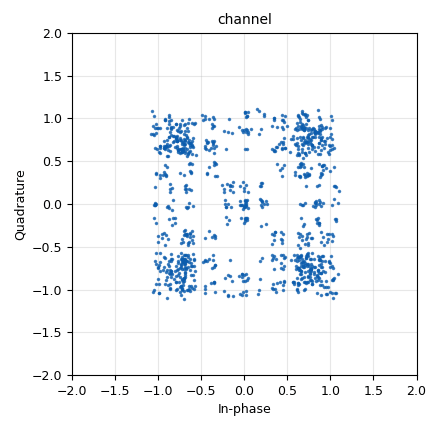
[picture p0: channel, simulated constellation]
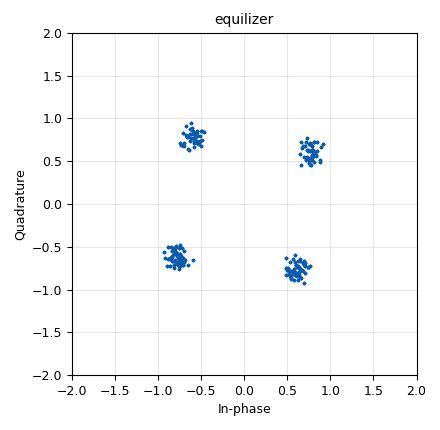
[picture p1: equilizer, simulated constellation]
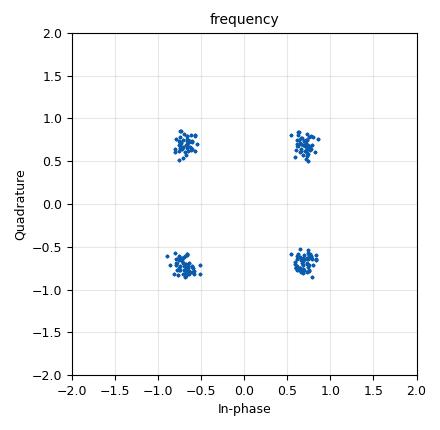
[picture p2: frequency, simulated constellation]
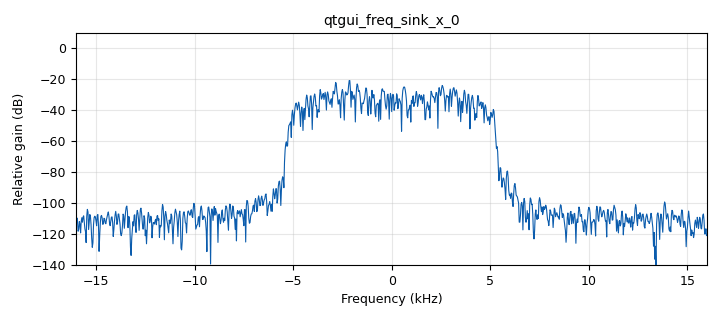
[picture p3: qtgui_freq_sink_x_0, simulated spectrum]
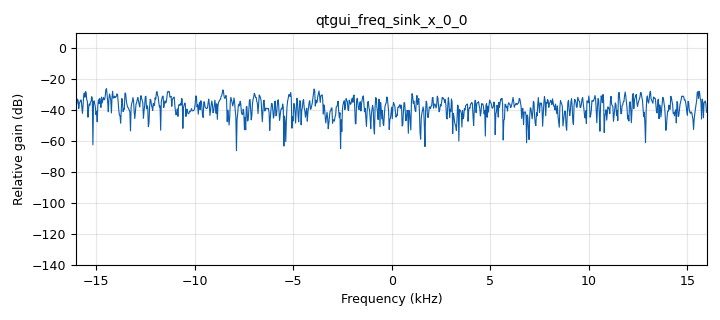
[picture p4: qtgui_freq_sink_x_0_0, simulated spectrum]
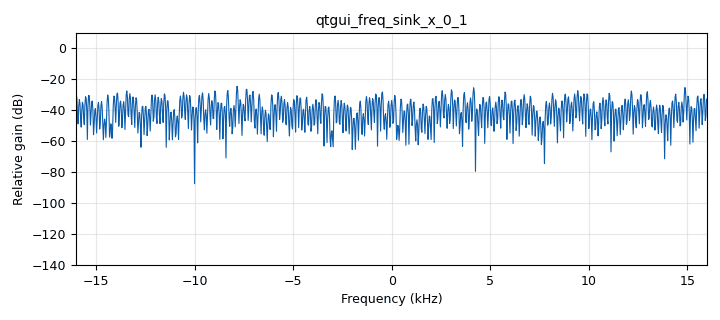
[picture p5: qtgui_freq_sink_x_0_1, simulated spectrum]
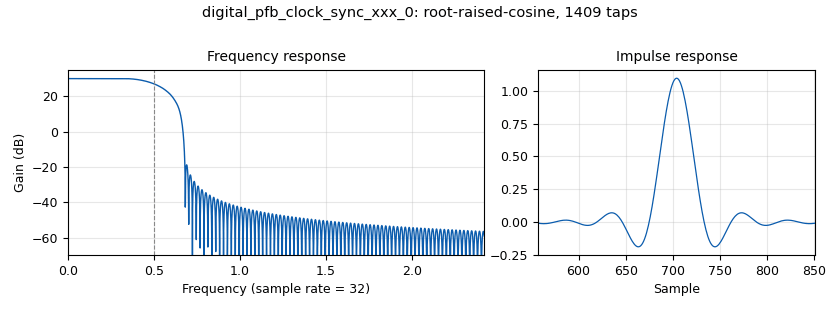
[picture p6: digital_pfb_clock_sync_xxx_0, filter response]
<?xml version='1.0' encoding='utf-8'?>
<?grc format='1' created='3.7.9'?>
<flow_graph>
<block>
<key>options</key>
<param><key>id</key><value>top_block</value></param>
<param><key>category</key><value>Custom</value></param>
<param><key>generate_options</key><value>qt_gui</value></param>
</block>
<block>
<key>variable_qtgui_range</key>
<param><key>id</key><value>BW</value></param>
<param><key>value</key><value>62.8e-3</value></param>
<param><key>gui_hint</key><value>0,3</value></param>
<param><key>orient</key><value>Qt.Horizontal</value></param>
<param><key>start</key><value>-0</value></param>
<param><key>step</key><value>10e-3</value></param>
<param><key>stop</key><value>200e-3</value></param>
</block>
<block>
<key>variable_qtgui_range</key>
<param><key>id</key><value>cma_gain</value></param>
<param><key>value</key><value>10e-3</value></param>
<param><key>gui_hint</key><value>2,1</value></param>
<param><key>orient</key><value>Qt.Horizontal</value></param>
<param><key>start</key><value>0</value></param>
<param><key>step</key><value>1e-3</value></param>
<param><key>stop</key><value>100e-3</value></param>
</block>
<block>
<key>variable</key>
<param><key>id</key><value>const_points</value></param>
<param><key>_enabled</key><value>0</value></param>
<param><key>value</key><value>4</value></param>
</block>
<block>
<key>variable_qtgui_range</key>
<param><key>id</key><value>delay</value></param>
<param><key>value</key><value>58</value></param>
<param><key>gui_hint</key><value>qtgui_tab_widget_0@4</value></param>
<param><key>orient</key><value>Qt.Horizontal</value></param>
<param><key>start</key><value>0</value></param>
<param><key>step</key><value>1</value></param>
<param><key>stop</key><value>100</value></param>
<param><key>rangeType</key><value>int</value></param>
</block>
<block>
<key>variable</key>
<param><key>id</key><value>excess_bw</value></param>
<param><key>value</key><value>0.35</value></param>
</block>
<block>
<key>variable_qtgui_range</key>
<param><key>id</key><value>freq_off</value></param>
<param><key>value</key><value>0</value></param>
<param><key>gui_hint</key><value>0,2</value></param>
<param><key>orient</key><value>Qt.Horizontal</value></param>
<param><key>start</key><value>-0.1</value></param>
<param><key>step</key><value>0.001</value></param>
<param><key>stop</key><value>0.1</value></param>
</block>
<block>
<key>variable</key>
<param><key>id</key><value>nfilts</value></param>
<param><key>value</key><value>32</value></param>
</block>
<block>
<key>variable_qtgui_range</key>
<param><key>id</key><value>noise_volt</value></param>
<param><key>value</key><value>100e-6</value></param>
<param><key>gui_hint</key><value>0,0</value></param>
<param><key>orient</key><value>Qt.Horizontal</value></param>
<param><key>start</key><value>0</value></param>
<param><key>step</key><value>0.01</value></param>
<param><key>stop</key><value>1</value></param>
</block>
<block>
<key>variable</key>
<param><key>id</key><value>ntaps</value></param>
<param><key>value</key><value>11*nfilts*sps</value></param>
</block>
<block>
<key>variable_constellation_rect</key>
<param><key>id</key><value>qpsk</value></param>
<param><key>const_points</key><value>[-0.707-0.707j, -0.707+0.707j, 0.707+0.707j, 0.707-0.707j]</value></param>
<param><key>imag_sect</key><value>2</value></param>
<param><key>real_sect</key><value>2</value></param>
<param><key>rot_sym</key><value>4</value></param>
<param><key>sym_map</key><value>[0, 1, 2, 3]</value></param>
<param><key>w_imag_sect</key><value>1</value></param>
<param><key>w_real_sect</key><value>1</value></param>
</block>
<block>
<key>variable</key>
<param><key>id</key><value>rrc_taps</value></param>
<param><key>value</key><value>firdes.root_raised_cosine(nfilts,nfilts,1.0,excess_bw,ntaps)</value></param>
</block>
<block>
<key>variable</key>
<param><key>id</key><value>samp_rate</value></param>
<param><key>value</key><value>32e3</value></param>
</block>
<block>
<key>variable</key>
<param><key>id</key><value>sps</value></param>
<param><key>value</key><value>4</value></param>
</block>
<block>
<key>variable</key>
<param><key>id</key><value>taps</value></param>
<param><key>value</key><value>1</value></param>
</block>
<block>
<key>variable_qtgui_range</key>
<param><key>id</key><value>time_off</value></param>
<param><key>value</key><value>1</value></param>
<param><key>gui_hint</key><value>0,1</value></param>
<param><key>orient</key><value>Qt.Horizontal</value></param>
<param><key>start</key><value>0.999</value></param>
<param><key>step</key><value>100e-6</value></param>
<param><key>stop</key><value>1.001</value></param>
</block>
<block>
<key>analog_random_source_x</key>
<param><key>id</key><value>analog_random_source_x_0</value></param>
<param><key>max</key><value>256</value></param>
<param><key>min</key><value>0</value></param>
<param><key>num_samps</key><value>100</value></param>
<param><key>type</key><value>byte</value></param>
<param><key>repeat</key><value>True</value></param>
</block>
<block>
<key>blocks_char_to_float</key>
<param><key>id</key><value>blocks_char_to_float_0</value></param>
<param><key>scale</key><value>1</value></param>
</block>
<block>
<key>blocks_char_to_float</key>
<param><key>id</key><value>blocks_char_to_float_0_0</value></param>
<param><key>scale</key><value>1</value></param>
</block>
<block>
<key>blocks_delay</key>
<param><key>id</key><value>blocks_delay_0</value></param>
<param><key>delay</key><value>delay</value></param>
<param><key>type</key><value>float</value></param>
</block>
<block>
<key>blocks_sub_xx</key>
<param><key>id</key><value>blocks_sub_xx_0</value></param>
<param><key>type</key><value>float</value></param>
</block>
<block>
<key>blocks_throttle</key>
<param><key>id</key><value>blocks_throttle_0_0</value></param>
<param><key>samples_per_second</key><value>samp_rate</value></param>
<param><key>type</key><value>complex</value></param>
</block>
<block>
<key>blocks_throttle</key>
<param><key>id</key><value>blocks_throttle_0_0_1</value></param>
<param><key>samples_per_second</key><value>samp_rate</value></param>
<param><key>type</key><value>float</value></param>
</block>
<block>
<key>blocks_unpack_k_bits_bb</key>
<param><key>id</key><value>blocks_unpack_k_bits_bb_0</value></param>
<param><key>k</key><value>2</value></param>
</block>
<block>
<key>blocks_unpack_k_bits_bb</key>
<param><key>id</key><value>blocks_unpack_k_bits_bb_0_0</value></param>
<param><key>k</key><value>8</value></param>
</block>
<block>
<key>qtgui_const_sink_x</key>
<param><key>id</key><value>channel</value></param>
<param><key>gui_hint</key><value>qtgui_tab_widget_0@0</value></param>
<param><key>name</key><value></value></param>
<param><key>size</key><value>1024</value></param>
<param><key>type</key><value>complex</value></param>
</block>
<block>
<key>channels_channel_model</key>
<param><key>id</key><value>channels_channel_model_0</value></param>
<param><key>epsilon</key><value>time_off</value></param>
<param><key>freq_offset</key><value>freq_off</value></param>
<param><key>noise_voltage</key><value>noise_volt</value></param>
<param><key>seed</key><value>0</value></param>
<param><key>taps</key><value>1</value></param>
</block>
<block>
<key>digital_constellation_modulator</key>
<param><key>id</key><value>const</value></param>
<param><key>constellation</key><value>qpsk</value></param>
<param><key>differential</key><value>True</value></param>
<param><key>excess_bw</key><value>excess_bw</value></param>
<param><key>samples_per_symbol</key><value>4</value></param>
</block>
<block>
<key>digital_cma_equalizer_cc</key>
<param><key>id</key><value>digital_cma_equalizer_cc_0</value></param>
<param><key>mu</key><value>cma_gain</value></param>
<param><key>modulus</key><value>1</value></param>
<param><key>num_taps</key><value>15</value></param>
<param><key>sps</key><value>2</value></param>
</block>
<block>
<key>digital_costas_loop_cc</key>
<param><key>id</key><value>digital_costas_loop_cc_0</value></param>
<param><key>w</key><value>BW</value></param>
<param><key>order</key><value>4</value></param>
</block>
<block>
<key>digital_diff_decoder_bb</key>
<param><key>id</key><value>digital_diff_decoder_bb_0</value></param>
<param><key>modulus</key><value>4</value></param>
</block>
<block>
<key>digital_map_bb</key>
<param><key>id</key><value>digital_map_bb_0</value></param>
<param><key>map</key><value>[0,1,2,3]</value></param>
</block>
<block>
<key>digital_pfb_clock_sync_xxx</key>
<param><key>id</key><value>digital_pfb_clock_sync_xxx_0</value></param>
<param><key>filter_size</key><value>32</value></param>
<param><key>init_phase</key><value>16</value></param>
<param><key>loop_bw</key><value>BW</value></param>
<param><key>max_dev</key><value>1.5</value></param>
<param><key>osps</key><value>1</value></param>
<param><key>sps</key><value>4</value></param>
<param><key>taps</key><value>rrc_taps</value></param>
<param><key>type</key><value>ccf</value></param>
</block>
<block>
<key>qtgui_const_sink_x</key>
<param><key>id</key><value>equilizer</value></param>
<param><key>gui_hint</key><value>qtgui_tab_widget_0@2</value></param>
<param><key>size</key><value>1024</value></param>
<param><key>type</key><value>complex</value></param>
</block>
<block>
<key>qtgui_const_sink_x</key>
<param><key>id</key><value>frequency</value></param>
<param><key>gui_hint</key><value>qtgui_tab_widget_0@3</value></param>
<param><key>size</key><value>1024</value></param>
<param><key>type</key><value>complex</value></param>
</block>
<block>
<key>qtgui_time_sink_x</key>
<param><key>id</key><value>output</value></param>
<param><key>gui_hint</key><value>qtgui_tab_widget_0@4</value></param>
<param><key>color1</key><value>"blue"</value></param>
<param><key>label1</key><value></value></param>
<param><key>size</key><value>500</value></param>
<param><key>srate</key><value>samp_rate</value></param>
<param><key>type</key><value>float</value></param>
</block>
<block>
<key>qtgui_freq_sink_x</key>
<param><key>id</key><value>qtgui_freq_sink_x_0</value></param>
<param><key>bw</key><value>samp_rate</value></param>
<param><key>fc</key><value>0</value></param>
<param><key>fftsize</key><value>1024</value></param>
<param><key>gui_hint</key><value>qtgui_tab_widget_0@0</value></param>
<param><key>showports</key><value>True</value></param>
<param><key>type</key><value>complex</value></param>
<param><key>wintype</key><value>firdes.WIN_BLACKMAN_hARRIS</value></param>
</block>
<block>
<key>qtgui_freq_sink_x</key>
<param><key>id</key><value>qtgui_freq_sink_x_0_0</value></param>
<param><key>bw</key><value>samp_rate</value></param>
<param><key>fc</key><value>0</value></param>
<param><key>fftsize</key><value>1024</value></param>
<param><key>gui_hint</key><value>qtgui_tab_widget_0@1</value></param>
<param><key>showports</key><value>True</value></param>
<param><key>type</key><value>complex</value></param>
<param><key>wintype</key><value>firdes.WIN_BLACKMAN_hARRIS</value></param>
</block>
<block>
<key>qtgui_freq_sink_x</key>
<param><key>id</key><value>qtgui_freq_sink_x_0_1</value></param>
<param><key>bw</key><value>samp_rate</value></param>
<param><key>fc</key><value>0</value></param>
<param><key>fftsize</key><value>1024</value></param>
<param><key>gui_hint</key><value>qtgui_tab_widget_0@2</value></param>
<param><key>showports</key><value>True</value></param>
<param><key>type</key><value>complex</value></param>
<param><key>wintype</key><value>firdes.WIN_BLACKMAN_hARRIS</value></param>
</block>
<block>
<key>qtgui_freq_sink_x</key>
<param><key>id</key><value>qtgui_freq_sink_x_0_2</value></param>
<param><key>bw</key><value>samp_rate</value></param>
<param><key>fc</key><value>0</value></param>
<param><key>fftsize</key><value>1024</value></param>
<param><key>gui_hint</key><value>qtgui_tab_widget_0@3</value></param>
<param><key>showports</key><value>True</value></param>
<param><key>type</key><value>complex</value></param>
<param><key>wintype</key><value>firdes.WIN_BLACKMAN_hARRIS</value></param>
</block>
<block>
<key>qtgui_tab_widget</key>
<param><key>id</key><value>qtgui_tab_widget_0</value></param>
<param><key>label0</key><value>channel</value></param>
<param><key>label1</key><value>timing</value></param>
<param><key>label2</key><value>equilizer</value></param>
<param><key>label3</key><value>timing</value></param>
<param><key>label4</key><value>output</value></param>
<param><key>num_tabs</key><value>5</value></param>
</block>
<block>
<key>qtgui_const_sink_x</key>
<param><key>id</key><value>timing</value></param>
<param><key>gui_hint</key><value>qtgui_tab_widget_0@1</value></param>
<param><key>size</key><value>1024</value></param>
<param><key>type</key><value>complex</value></param>
</block>
<block>
<key>tutorial_my_qpsk_demod_cb</key>
<param><key>id</key><value>tutorial_my_qpsk_demod_cb_0</value></param>
<param><key>gray_code</key><value>True</value></param>
</block>
<connection><source_block_id>analog_random_source_x_0</source_block_id><sink_block_id>blocks_unpack_k_bits_bb_0_0</sink_block_id><source_key>0</source_key><sink_key>0</sink_key></connection>
<connection><source_block_id>analog_random_source_x_0</source_block_id><sink_block_id>const</sink_block_id><source_key>0</source_key><sink_key>0</sink_key></connection>
<connection><source_block_id>blocks_char_to_float_0</source_block_id><sink_block_id>blocks_sub_xx_0</sink_block_id><source_key>0</source_key><sink_key>0</sink_key></connection>
<connection><source_block_id>blocks_char_to_float_0_0</source_block_id><sink_block_id>blocks_delay_0</sink_block_id><source_key>0</source_key><sink_key>0</sink_key></connection>
<connection><source_block_id>blocks_delay_0</source_block_id><sink_block_id>blocks_sub_xx_0</sink_block_id><source_key>0</source_key><sink_key>1</sink_key></connection>
<connection><source_block_id>blocks_sub_xx_0</source_block_id><sink_block_id>blocks_throttle_0_0_1</sink_block_id><source_key>0</source_key><sink_key>0</sink_key></connection>
<connection><source_block_id>blocks_throttle_0_0</source_block_id><sink_block_id>channels_channel_model_0</sink_block_id><source_key>0</source_key><sink_key>0</sink_key></connection>
<connection><source_block_id>blocks_throttle_0_0_1</source_block_id><sink_block_id>output</sink_block_id><source_key>0</source_key><sink_key>0</sink_key></connection>
<connection><source_block_id>blocks_unpack_k_bits_bb_0</source_block_id><sink_block_id>blocks_char_to_float_0</sink_block_id><source_key>0</source_key><sink_key>0</sink_key></connection>
<connection><source_block_id>blocks_unpack_k_bits_bb_0_0</source_block_id><sink_block_id>blocks_char_to_float_0_0</sink_block_id><source_key>0</source_key><sink_key>0</sink_key></connection>
<connection><source_block_id>channels_channel_model_0</source_block_id><sink_block_id>channel</sink_block_id><source_key>0</source_key><sink_key>0</sink_key></connection>
<connection><source_block_id>channels_channel_model_0</source_block_id><sink_block_id>digital_pfb_clock_sync_xxx_0</sink_block_id><source_key>0</source_key><sink_key>0</sink_key></connection>
<connection><source_block_id>channels_channel_model_0</source_block_id><sink_block_id>qtgui_freq_sink_x_0</sink_block_id><source_key>0</source_key><sink_key>0</sink_key></connection>
<connection><source_block_id>const</source_block_id><sink_block_id>blocks_throttle_0_0</sink_block_id><source_key>0</source_key><sink_key>0</sink_key></connection>
<connection><source_block_id>digital_cma_equalizer_cc_0</source_block_id><sink_block_id>digital_costas_loop_cc_0</sink_block_id><source_key>0</source_key><sink_key>0</sink_key></connection>
<connection><source_block_id>digital_cma_equalizer_cc_0</source_block_id><sink_block_id>equilizer</sink_block_id><source_key>0</source_key><sink_key>0</sink_key></connection>
<connection><source_block_id>digital_cma_equalizer_cc_0</source_block_id><sink_block_id>qtgui_freq_sink_x_0_1</sink_block_id><source_key>0</source_key><sink_key>0</sink_key></connection>
<connection><source_block_id>digital_costas_loop_cc_0</source_block_id><sink_block_id>frequency</sink_block_id><source_key>0</source_key><sink_key>0</sink_key></connection>
<connection><source_block_id>digital_costas_loop_cc_0</source_block_id><sink_block_id>qtgui_freq_sink_x_0_2</sink_block_id><source_key>0</source_key><sink_key>0</sink_key></connection>
<connection><source_block_id>digital_costas_loop_cc_0</source_block_id><sink_block_id>tutorial_my_qpsk_demod_cb_0</sink_block_id><source_key>0</source_key><sink_key>0</sink_key></connection>
<connection><source_block_id>digital_diff_decoder_bb_0</source_block_id><sink_block_id>blocks_unpack_k_bits_bb_0</sink_block_id><source_key>0</source_key><sink_key>0</sink_key></connection>
<connection><source_block_id>digital_map_bb_0</source_block_id><sink_block_id>digital_diff_decoder_bb_0</sink_block_id><source_key>0</source_key><sink_key>0</sink_key></connection>
<connection><source_block_id>digital_pfb_clock_sync_xxx_0</source_block_id><sink_block_id>digital_cma_equalizer_cc_0</sink_block_id><source_key>0</source_key><sink_key>0</sink_key></connection>
<connection><source_block_id>digital_pfb_clock_sync_xxx_0</source_block_id><sink_block_id>qtgui_freq_sink_x_0_0</sink_block_id><source_key>0</source_key><sink_key>0</sink_key></connection>
<connection><source_block_id>digital_pfb_clock_sync_xxx_0</source_block_id><sink_block_id>timing</sink_block_id><source_key>0</source_key><sink_key>0</sink_key></connection>
<connection><source_block_id>tutorial_my_qpsk_demod_cb_0</source_block_id><sink_block_id>digital_map_bb_0</sink_block_id><source_key>0</source_key><sink_key>0</sink_key></connection>
</flow_graph>
